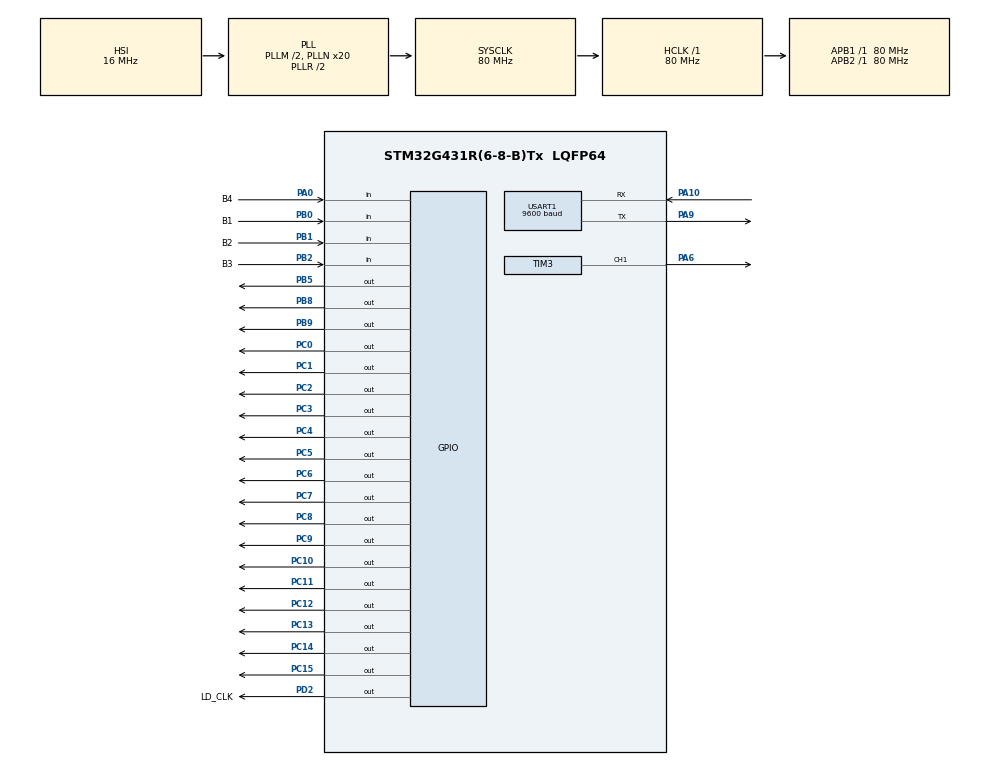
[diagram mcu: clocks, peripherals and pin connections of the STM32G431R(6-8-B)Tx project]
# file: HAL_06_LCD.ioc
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Mcu.Family=STM32G4
Mcu.Name=STM32G431R(6-8-B)Tx
Mcu.Package=LQFP64
NVIC.PriorityGroup=NVIC_PRIORITYGROUP_4
NVIC.TIM4_IRQn=true\:0\:0\:true\:false\:true\:true\:true
NVIC.USART1_IRQn=true\:0\:0\:false\:false\:true\:true\:true
PA0.GPIO_Label=B4
PA0.GPIO_PuPd=GPIO_PULLUP
PA0.Signal=GPIO_Input
PA10.Mode=Asynchronous
PA10.Signal=USART1_RX
PA6.Signal=S_TIM3_CH1
PA9.Mode=Asynchronous
PA9.Signal=USART1_TX
PB0.GPIO_Label=B1
PB0.GPIO_PuPd=GPIO_PULLUP
PB0.Signal=GPIO_Input
PB1.GPIO_Label=B2
PB1.GPIO_PuPd=GPIO_PULLUP
PB1.Signal=GPIO_Input
PB2.GPIO_Label=B3
PB2.GPIO_PuPd=GPIO_PULLUP
PB2.Signal=GPIO_Input
PB5.Signal=GPIO_Output
PB8-BOOT0.Signal=GPIO_Output
PB9.Signal=GPIO_Output
PC0.Signal=GPIO_Output
PC1.Signal=GPIO_Output
PC10.Signal=GPIO_Output
PC11.Signal=GPIO_Output
PC12.Signal=GPIO_Output
PC13.Signal=GPIO_Output
PC14-OSC32_IN.Signal=GPIO_Output
PC15-OSC32_OUT.Signal=GPIO_Output
PC2.Signal=GPIO_Output
PC3.Signal=GPIO_Output
PC4.Signal=GPIO_Output
PC5.Signal=GPIO_Output
PC6.Signal=GPIO_Output
PC7.Signal=GPIO_Output
PC8.Signal=GPIO_Output
PC9.Signal=GPIO_Output
PD2.GPIO_Label=LD_CLK
PD2.Signal=GPIO_Output
PF0-OSC_IN.Mode=HSE-External-Oscillator
PF0-OSC_IN.Signal=RCC_OSC_IN
PF1-OSC_OUT.Mode=HSE-External-Oscillator
PF1-OSC_OUT.Signal=RCC_OSC_OUT
ProjectManager.HeapSize=0x200
ProjectManager.StackSize=0x400
ProjectManager.TargetToolchain=MDK-ARM V5.27
RCC.ADC12Freq_Value=80000000
RCC.AHBFreq_Value=80000000
RCC.APB1Freq_Value=80000000
RCC.APB1TimFreq_Value=80000000
RCC.APB2Freq_Value=80000000
RCC.APB2TimFreq_Value=80000000
RCC.CortexFreq_Value=80000000
RCC.EXTERNAL_CLOCK_VALUE=12288000
RCC.HCLKFreq_Value=80000000
RCC.HSE_VALUE=24000000
RCC.HSI48_VALUE=48000000
RCC.HSI_VALUE=16000000
RCC.LSE_VALUE=32768
RCC.PLLM=RCC_PLLM_DIV2
RCC.PLLN=20
RCC.SYSCLKFreq_VALUE=80000000
RCC.SYSCLKSource=RCC_SYSCLKSOURCE_PLLCLK
RCC.USBFreq_Value=80000000
RCC.VCOOutputFreq_Value=160000000
SH.S_TIM3_CH1.0=TIM3_CH1,PWM Generation1 CH1
TIM3.Channel-PWM\ Generation1\ CH1=TIM_CHANNEL_1
TIM3.PeriodNoDither=1000-1
TIM3.Prescaler=80-1
TIM3.PulseNoDither_1=800
TIM4.PeriodNoDither=1000-1
TIM4.Prescaler=80-1
USART1.BaudRate=9600
USART1.VirtualMode-Asynchronous=VM_ASYNC
VP_SYS_VS_DBSignals.Mode=DisableDeadBatterySignals
VP_TIM3_VS_ClockSourceINT.Mode=Internal
VP_TIM4_VS_ClockSourceINT.Mode=Internal
board=custom

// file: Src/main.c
/* USER CODE BEGIN Header */
/**
  ******************************************************************************
  * @file           : main.c
  * @brief          : Main program body
  ******************************************************************************
  * @attention
  *
  * <h2><center>&copy; Copyright (c) 2021 STMicroelectronics.
  * All rights reserved.</center></h2>
  *
  * This software component is licensed by ST under BSD 3-Clause license,
  * the "License"; You may not use this file except in compliance with the
  * License. You may obtain a copy of the License at:
  *                        opensource.org/licenses/BSD-3-Clause
  *
  ******************************************************************************
  */
/* USER CODE END Header */
#include "main.h"

/* USER CODE BEGIN Includes */
#include <stdio.h>
#include <string.h>
#include "lcd.h"
#include "i2c.h"
/* USER CODE END Includes */

/* USER CODE BEGIN PD */
//界面
#define DISPLAYVIEW 1
#define SETTINGVIEW 2
//设置选择项
#define HOR_SEL 1
#define MIN_SEL 2
#define SEC_SEL 3
//当前状态
#define STANDBY 0
#define SETTING 1
#define RUNNING 2
#define PAUSE   3
/* USER CODE END PD */

/* USER CODE BEGIN PM */
#define KB1 HAL_GPIO_ReadPin(B1_GPIO_Port, B1_Pin)
#define KB2 HAL_GPIO_ReadPin(B2_GPIO_Port, B2_Pin)
#define KB3 HAL_GPIO_ReadPin(B3_GPIO_Port, B3_Pin)
#define KB4 HAL_GPIO_ReadPin(B4_GPIO_Port, B4_Pin)
/* USER CODE END PM */

TIM_HandleTypeDef htim3;
TIM_HandleTypeDef htim4;

UART_HandleTypeDef huart1;

/* USER CODE BEGIN PV */
_Bool Key_Flag = 0;//按键的标志位
_Bool Led_Flag = 0;//LED的标志位
_Bool Lcd_Flag = 0;
_Bool T1s_Flag = 0;
uint16_t Led_Val;
uint8_t View_Model = 1;

uint8_t Current_Index = 1;//当前存储序列
int Hour_Val[6], Min_Val[6], Sec_Val[6];//存储时间
uint8_t State_Val[6];//储存序列状态
uint8_t Setting_Index = 1;//当前设置序列
/* USER CODE END PV */

void SystemClock_Config(void);
static void MX_GPIO_Init(void);
static void MX_TIM4_Init(void);
static void MX_TIM3_Init(void);
static void MX_USART1_UART_Init(void);

/* USER CODE BEGIN 0 */
//读写eeprom
uint8_t ee_read(uint8_t address)
{
	uint8_t val;
	I2CStart();
	I2CSendByte(0xa0);
	I2CWaitAck();

	I2CSendByte(address);
	I2CWaitAck();

	I2CStart();
	I2CSendByte(0xa1);
	I2CWaitAck();
	val = I2CReceiveByte();
	I2CWaitAck();
	I2CStop();
	return val;
}

void ee_write(uint8_t address, uint8_t val)
{
	I2CStart();
	I2CSendByte(0xa0);
	I2CWaitAck();

	I2CSendByte(address);
	I2CWaitAck();

	I2CSendByte(val);
	I2CWaitAck();
	I2CStop();
}
//操作LED灯
void TurnOff_LEDS()
{
	Led_Val = 0xFF00;
	HAL_GPIO_WritePin(LD_CLK_GPIO_Port, LD_CLK_Pin, GPIO_PIN_SET);
	GPIOC->ODR = Led_Val;
	HAL_GPIO_WritePin(LD_CLK_GPIO_Port, LD_CLK_Pin, GPIO_PIN_RESET);
}
void TurnOff_LED(uint8_t _led)
{
	Led_Val |= (0x01 << (7 + _led));
	HAL_GPIO_WritePin(LD_CLK_GPIO_Port, LD_CLK_Pin, GPIO_PIN_SET);
	GPIOC->ODR = Led_Val;
	HAL_GPIO_WritePin(LD_CLK_GPIO_Port, LD_CLK_Pin, GPIO_PIN_RESET);
}
void TurnOn_LED(uint8_t _led)
{
	Led_Val &= ~(0x01 << (7 + _led));
	HAL_GPIO_WritePin(LD_CLK_GPIO_Port, LD_CLK_Pin, GPIO_PIN_SET);
	GPIOC->ODR = Led_Val;
	HAL_GPIO_WritePin(LD_CLK_GPIO_Port, LD_CLK_Pin, GPIO_PIN_RESET);
}

void Display_Time(int _fci, int _sci, int _time[])
{
	LCD_DisplayChar(Line3, 319 - 16 * _fci, (uint8_t)_time[Current_Index] / 10 + '0');
	LCD_DisplayChar(Line3, 319 - 16 * _sci, (uint8_t)_time[Current_Index] % 10 + '0');
}

void Add_Time()
{
	if(View_Model == SETTINGVIEW)
	{
		switch(Setting_Index)
		{
			case HOR_SEL:
				if(++Hour_Val[Current_Index] >= 24)
				{
					Hour_Val[Current_Index] = 0;
				}
			break;
			case MIN_SEL:
				if(++Min_Val[Current_Index] >= 60)
				{
					Min_Val[Current_Index] = 0;
				}
			break;
			case SEC_SEL:
				if(++Sec_Val[Current_Index] >= 60)
				{
					Sec_Val[Current_Index] = 0;
				}
			break;
		}
	}
}

void Display_Proc()
{
	uint8_t buf[30];
	//显示序号
	sprintf((char *)buf, "    No %d", Current_Index);
	LCD_DisplayStringLine(Line1, buf);

	//显示时间
	if(View_Model == DISPLAYVIEW)
	{
		//显示界面下
		sprintf((char *)buf, "       %02d: %02d: %02d", Hour_Val[Current_Index], Min_Val[Current_Index], Sec_Val[Current_Index]);
		LCD_DisplayStringLine(Line3, buf);
	}
	if(View_Model == SETTINGVIEW)
	{
		//设置界面下
		if(Setting_Index == HOR_SEL)
		{
			LCD_SetTextColor(Red);
			Display_Time(7, 8, Hour_Val);
			LCD_SetTextColor(Black);
		}else{
			Display_Time(7, 8, Hour_Val);
		}
		if(Setting_Index == MIN_SEL)
		{
			LCD_SetTextColor(Red);
			Display_Time(11, 12, Min_Val);
			LCD_SetTextColor(Black);
		}else{
			Display_Time(11, 12, Min_Val);
		}
		if(Setting_Index == SEC_SEL)
		{
			LCD_SetTextColor(Red);
			Display_Time(15, 16, Sec_Val);
			LCD_SetTextColor(Black);
		}else{
			Display_Time(15, 16, Sec_Val);
		}
	}
	//显示状态值
	switch(State_Val[Current_Index])
	{
		case STANDBY:
			LCD_DisplayStringLine(Line5, (uint8_t *)"        Standby  ");
		break;
		case SETTING:
			LCD_DisplayStringLine(Line5, (uint8_t *)"        Setting  ");
		break;
		case RUNNING:
			LCD_DisplayStringLine(Line5, (uint8_t *)"        Running  ");
		break;
		case PAUSE:
			LCD_DisplayStringLine(Line5, (uint8_t *)"        Pause    ");
		break;
	}
}
int fputc(int ch, FILE *f)
{
	HAL_UART_Transmit(&huart1, (uint8_t *)&ch, 1, HAL_MAX_DELAY);
	return ch;
}
//按键扫描服务函数
void Key_Proc()
{
	//按键1 用于界面切换
	static uint8_t b1_sum;
	if(KB1 == 0)
	{
		b1_sum++;
		if(b1_sum == 1)
		{
			Current_Index = Current_Index % 5 + 1;
		}
	}
	if(KB1 == 1)
	{
		b1_sum = 0;
	}

	//按键2 用于设置切换
	static uint8_t b2_sum;
	static uint16_t first_time;
	if(KB2 == 0)
	{
		b2_sum++;
	}
	if(KB2 == 1)
	{
		if(b2_sum >= 1 && b2_sum <= 80)
		{
			if(View_Model == DISPLAYVIEW && State_Val[Current_Index] == STANDBY)
			{
				View_Model = SETTINGVIEW;
				for(int i = 1; i <= 5; i++){
					State_Val[i] = SETTING;
				}
			}else if(View_Model == SETTINGVIEW){
				Setting_Index = Setting_Index % 3 + 1;

			}
		}else if(b2_sum > 80){
			View_Model = DISPLAYVIEW;
			ee_write(0x01, Hour_Val[1]);
			HAL_Delay(5);
			ee_write(0x02, Min_Val[1]);
			HAL_Delay(5);
			ee_write(0x03, Sec_Val[1]);
			HAL_Delay(5);
			for(int i = 1; i <= 5; i++){
					State_Val[i] = STANDBY;
			}
		}
		b2_sum  = 0;
	}

	//按键3 用于数字的快速增加
	static uint8_t b3_sum;

	if(KB3 == 0)
	{
		b3_sum++;
		if(b3_sum == 1)
		{
			Add_Time();
		}
		if(b3_sum >= 80)
		{
			Add_Time();
			b3_sum = 75;
		}
	}
	if(KB3 == 1)
	{
		b3_sum = 0;
	}

	//按键4 用于定时器启动
	static uint8_t b4_sum;
	if(KB4 == 0)
	{
		b4_sum++;
	}
	if(KB4 == 1)
	{
		if(b4_sum >= 1 && b4_sum <= 80)
		{
			if(State_Val[Current_Index] == STANDBY || State_Val[Current_Index] == SETTING)
			{
				for(int i = 1; i <= 5; i++){
					State_Val[i] = STANDBY;
				}
				View_Model = DISPLAYVIEW;
				State_Val[Current_Index] = RUNNING;//启动定时器
				HAL_TIM_PWM_Start(&htim3, TIM_CHANNEL_1);
			}
			else if(State_Val[Current_Index] == RUNNING)
			{
				State_Val[Current_Index] = PAUSE;//暂停定时器
				HAL_TIM_PWM_Stop(&htim3, TIM_CHANNEL_1);
				TurnOff_LED(1);
			}
			else if(State_Val[Current_Index] == PAUSE)
			{
				State_Val[Current_Index] = RUNNING;//恢复定时器
				HAL_TIM_PWM_Start(&htim3, TIM_CHANNEL_1);
			}
		}
		if(b4_sum > 80)
		{
			if(State_Val[Current_Index] == RUNNING)
			{
				State_Val[Current_Index] = STANDBY;//暂停定时器
			}
		}
		b4_sum = 0;
	}
}

/* USER CODE END 0 */

int main(void)
{

  /* MCU Configuration--------------------------------------------------------*/

  /* Reset of all peripherals, Initializes the Flash interface and the Systick. */
  HAL_Init();

  /* Configure the system clock */
  SystemClock_Config();

  /* Initialize all configured peripherals */
  MX_GPIO_Init();
  MX_TIM4_Init();
  MX_TIM3_Init();
  MX_USART1_UART_Init();
  /* USER CODE BEGIN 2 */
	//初始化I2C
	I2CInit();

	Hour_Val[1] = ee_read(1);
	HAL_Delay(5);
	Min_Val[1] = ee_read(2);
	HAL_Delay(5);
	Sec_Val[1] = ee_read(3);
	//启动定时器4
	HAL_TIM_Base_Start_IT(&htim4);
	//初始化LCD
	LCD_Init();
  /* USER CODE END 2 */

  /* Infinite loop */
  /* USER CODE BEGIN WHILE */

	LCD_Clear(White);
	LCD_SetBackColor(White);
	LCD_SetTextColor(Black);
	TurnOff_LEDS();
  while (1)
  {
		if(Lcd_Flag){
			Lcd_Flag = 0;
			Display_Proc();//占用20ms
		}
    /* USER CODE END WHILE */

    /* USER CODE BEGIN 3 */
		if(Key_Flag)
		{
			Key_Flag = 0;
			Key_Proc();//占用20ms
		}
		if(State_Val[Current_Index] == RUNNING)
		{
			if(Led_Flag)
				TurnOn_LED(1);
			else
				TurnOff_LED(1);
		}

	}
  /* USER CODE END 3 */
}

void SystemClock_Config(void)
{
  RCC_OscInitTypeDef RCC_OscInitStruct = {0};
  RCC_ClkInitTypeDef RCC_ClkInitStruct = {0};
  RCC_PeriphCLKInitTypeDef PeriphClkInit = {0};

  /** Configure the main internal regulator output voltage
  */
  HAL_PWREx_ControlVoltageScaling(PWR_REGULATOR_VOLTAGE_SCALE1);
  /** Initializes the RCC Oscillators according to the specified parameters
  * in the RCC_OscInitTypeDef structure.
  */
  RCC_OscInitStruct.OscillatorType = RCC_OSCILLATORTYPE_HSI;
  RCC_OscInitStruct.HSIState = RCC_HSI_ON;
  RCC_OscInitStruct.HSICalibrationValue = RCC_HSICALIBRATION_DEFAULT;
  RCC_OscInitStruct.PLL.PLLState = RCC_PLL_ON;
  RCC_OscInitStruct.PLL.PLLSource = RCC_PLLSOURCE_HSI;
  RCC_OscInitStruct.PLL.PLLM = RCC_PLLM_DIV2;
  RCC_OscInitStruct.PLL.PLLN = 20;
  RCC_OscInitStruct.PLL.PLLP = RCC_PLLP_DIV2;
  RCC_OscInitStruct.PLL.PLLQ = RCC_PLLQ_DIV2;
  RCC_OscInitStruct.PLL.PLLR = RCC_PLLR_DIV2;
  if (HAL_RCC_OscConfig(&RCC_OscInitStruct) != HAL_OK)
  {
    Error_Handler();
  }
  /** Initializes the CPU, AHB and APB buses clocks
  */
  RCC_ClkInitStruct.ClockType = RCC_CLOCKTYPE_HCLK|RCC_CLOCKTYPE_SYSCLK
                              |RCC_CLOCKTYPE_PCLK1|RCC_CLOCKTYPE_PCLK2;
  RCC_ClkInitStruct.SYSCLKSource = RCC_SYSCLKSOURCE_PLLCLK;
  RCC_ClkInitStruct.AHBCLKDivider = RCC_SYSCLK_DIV1;
  RCC_ClkInitStruct.APB1CLKDivider = RCC_HCLK_DIV1;
  RCC_ClkInitStruct.APB2CLKDivider = RCC_HCLK_DIV1;

  if (HAL_RCC_ClockConfig(&RCC_ClkInitStruct, FLASH_LATENCY_2) != HAL_OK)
  {
    Error_Handler();
  }
  /** Initializes the peripherals clocks
  */
  PeriphClkInit.PeriphClockSelection = RCC_PERIPHCLK_USART1;
  PeriphClkInit.Usart1ClockSelection = RCC_USART1CLKSOURCE_PCLK2;
  if (HAL_RCCEx_PeriphCLKConfig(&PeriphClkInit) != HAL_OK)
  {
    Error_Handler();
  }
}

static void MX_TIM3_Init(void)
{

  TIM_ClockConfigTypeDef sClockSourceConfig = {0};
  TIM_MasterConfigTypeDef sMasterConfig = {0};
  TIM_OC_InitTypeDef sConfigOC = {0};

  htim3.Instance = TIM3;
  htim3.Init.Prescaler = 80-1;
  htim3.Init.CounterMode = TIM_COUNTERMODE_UP;
  htim3.Init.Period = 999;
  htim3.Init.ClockDivision = TIM_CLOCKDIVISION_DIV1;
  htim3.Init.AutoReloadPreload = TIM_AUTORELOAD_PRELOAD_DISABLE;
  if (HAL_TIM_Base_Init(&htim3) != HAL_OK)
  {
    Error_Handler();
  }
  sClockSourceConfig.ClockSource = TIM_CLOCKSOURCE_INTERNAL;
  if (HAL_TIM_ConfigClockSource(&htim3, &sClockSourceConfig) != HAL_OK)
  {
    Error_Handler();
  }
  if (HAL_TIM_PWM_Init(&htim3) != HAL_OK)
  {
    Error_Handler();
  }
  sMasterConfig.MasterOutputTrigger = TIM_TRGO_RESET;
  sMasterConfig.MasterSlaveMode = TIM_MASTERSLAVEMODE_DISABLE;
  if (HAL_TIMEx_MasterConfigSynchronization(&htim3, &sMasterConfig) != HAL_OK)
  {
    Error_Handler();
  }
  sConfigOC.OCMode = TIM_OCMODE_PWM1;
  sConfigOC.Pulse = 800;
  sConfigOC.OCPolarity = TIM_OCPOLARITY_HIGH;
  sConfigOC.OCFastMode = TIM_OCFAST_DISABLE;
  if (HAL_TIM_PWM_ConfigChannel(&htim3, &sConfigOC, TIM_CHANNEL_1) != HAL_OK)
  {
    Error_Handler();
  }
  HAL_TIM_MspPostInit(&htim3);

}

static void MX_TIM4_Init(void)
{

  TIM_ClockConfigTypeDef sClockSourceConfig = {0};
  TIM_MasterConfigTypeDef sMasterConfig = {0};

  htim4.Instance = TIM4;
  htim4.Init.Prescaler = 80-1;
  htim4.Init.CounterMode = TIM_COUNTERMODE_UP;
  htim4.Init.Period = 999;
  htim4.Init.ClockDivision = TIM_CLOCKDIVISION_DIV1;
  htim4.Init.AutoReloadPreload = TIM_AUTORELOAD_PRELOAD_DISABLE;
  if (HAL_TIM_Base_Init(&htim4) != HAL_OK)
  {
    Error_Handler();
  }
  sClockSourceConfig.ClockSource = TIM_CLOCKSOURCE_INTERNAL;
  if (HAL_TIM_ConfigClockSource(&htim4, &sClockSourceConfig) != HAL_OK)
  {
    Error_Handler();
  }
  sMasterConfig.MasterOutputTrigger = TIM_TRGO_RESET;
  sMasterConfig.MasterSlaveMode = TIM_MASTERSLAVEMODE_DISABLE;
  if (HAL_TIMEx_MasterConfigSynchronization(&htim4, &sMasterConfig) != HAL_OK)
  {
    Error_Handler();
  }

}

static void MX_USART1_UART_Init(void)
{

  huart1.Instance = USART1;
  huart1.Init.BaudRate = 9600;
  huart1.Init.WordLength = UART_WORDLENGTH_8B;
  huart1.Init.StopBits = UART_STOPBITS_1;
  huart1.Init.Parity = UART_PARITY_NONE;
  huart1.Init.Mode = UART_MODE_TX_RX;
  huart1.Init.HwFlowCtl = UART_HWCONTROL_NONE;
  huart1.Init.OverSampling = UART_OVERSAMPLING_16;
  huart1.Init.OneBitSampling = UART_ONE_BIT_SAMPLE_DISABLE;
  huart1.Init.ClockPrescaler = UART_PRESCALER_DIV1;
  huart1.AdvancedInit.AdvFeatureInit = UART_ADVFEATURE_NO_INIT;
  if (HAL_UART_Init(&huart1) != HAL_OK)
  {
    Error_Handler();
  }
  if (HAL_UARTEx_SetTxFifoThreshold(&huart1, UART_TXFIFO_THRESHOLD_1_8) != HAL_OK)
  {
    Error_Handler();
  }
  if (HAL_UARTEx_SetRxFifoThreshold(&huart1, UART_RXFIFO_THRESHOLD_1_8) != HAL_OK)
  {
    Error_Handler();
  }
  if (HAL_UARTEx_DisableFifoMode(&huart1) != HAL_OK)
  {
    Error_Handler();
  }

}

static void MX_GPIO_Init(void)
{
  GPIO_InitTypeDef GPIO_InitStruct = {0};

  /* GPIO Ports Clock Enable */
  __HAL_RCC_GPIOC_CLK_ENABLE();
  __HAL_RCC_GPIOF_CLK_ENABLE();
  __HAL_RCC_GPIOA_CLK_ENABLE();
  __HAL_RCC_GPIOB_CLK_ENABLE();
  __HAL_RCC_GPIOD_CLK_ENABLE();

  /*Configure GPIO pin Output Level */
  HAL_GPIO_WritePin(GPIOC, GPIO_PIN_13|GPIO_PIN_14|GPIO_PIN_15|GPIO_PIN_0
                          |GPIO_PIN_1|GPIO_PIN_2|GPIO_PIN_3|GPIO_PIN_4
                          |GPIO_PIN_5|GPIO_PIN_6|GPIO_PIN_7|GPIO_PIN_8
                          |GPIO_PIN_9|GPIO_PIN_10|GPIO_PIN_11|GPIO_PIN_12, GPIO_PIN_RESET);

  /*Configure GPIO pin Output Level */
  HAL_GPIO_WritePin(LD_CLK_GPIO_Port, LD_CLK_Pin, GPIO_PIN_RESET);

  /*Configure GPIO pin Output Level */
  HAL_GPIO_WritePin(GPIOB, GPIO_PIN_5|GPIO_PIN_8|GPIO_PIN_9, GPIO_PIN_RESET);

  /*Configure GPIO pins : PC13 PC14 PC15 PC0
                           PC1 PC2 PC3 PC4
                           PC5 PC6 PC7 PC8
                           PC9 PC10 PC11 PC12 */
  GPIO_InitStruct.Pin = GPIO_PIN_13|GPIO_PIN_14|GPIO_PIN_15|GPIO_PIN_0
                          |GPIO_PIN_1|GPIO_PIN_2|GPIO_PIN_3|GPIO_PIN_4
                          |GPIO_PIN_5|GPIO_PIN_6|GPIO_PIN_7|GPIO_PIN_8
                          |GPIO_PIN_9|GPIO_PIN_10|GPIO_PIN_11|GPIO_PIN_12;
  GPIO_InitStruct.Mode = GPIO_MODE_OUTPUT_PP;
  GPIO_InitStruct.Pull = GPIO_NOPULL;
  GPIO_InitStruct.Speed = GPIO_SPEED_FREQ_LOW;
  HAL_GPIO_Init(GPIOC, &GPIO_InitStruct);

  /*Configure GPIO pin : B4_Pin */
  GPIO_InitStruct.Pin = B4_Pin;
  GPIO_InitStruct.Mode = GPIO_MODE_INPUT;
  GPIO_InitStruct.Pull = GPIO_PULLUP;
  HAL_GPIO_Init(B4_GPIO_Port, &GPIO_InitStruct);

  /*Configure GPIO pins : B1_Pin B2_Pin B3_Pin */
  GPIO_InitStruct.Pin = B1_Pin|B2_Pin|B3_Pin;
  GPIO_InitStruct.Mode = GPIO_MODE_INPUT;
  GPIO_InitStruct.Pull = GPIO_PULLUP;
  HAL_GPIO_Init(GPIOB, &GPIO_InitStruct);

  /*Configure GPIO pin : LD_CLK_Pin */
  GPIO_InitStruct.Pin = LD_CLK_Pin;
  GPIO_InitStruct.Mode = GPIO_MODE_OUTPUT_PP;
  GPIO_InitStruct.Pull = GPIO_NOPULL;
  GPIO_InitStruct.Speed = GPIO_SPEED_FREQ_LOW;
  HAL_GPIO_Init(LD_CLK_GPIO_Port, &GPIO_InitStruct);

  /*Configure GPIO pins : PB5 PB8 PB9 */
  GPIO_InitStruct.Pin = GPIO_PIN_5|GPIO_PIN_8|GPIO_PIN_9;
  GPIO_InitStruct.Mode = GPIO_MODE_OUTPUT_PP;
  GPIO_InitStruct.Pull = GPIO_NOPULL;
  GPIO_InitStruct.Speed = GPIO_SPEED_FREQ_LOW;
  HAL_GPIO_Init(GPIOB, &GPIO_InitStruct);

}

/* USER CODE BEGIN 4 */
void HAL_TIM_PeriodElapsedCallback(TIM_HandleTypeDef *htim)
{
	HAL_TIM_Base_Start_IT(&htim4);
	static uint8_t key_count;//用于按键扫描计数
	static uint16_t led_count;//用于LED切换
	static uint16_t timer_count;//倒计时
	if(htim->Instance == TIM4)
	{
		if(++key_count == 10)
		{
			key_count = 0;
			Key_Flag = 1;
		}
		if(++led_count == 500)
		{
			led_count = 0;
			Led_Flag = !Led_Flag;
		}
		if(++timer_count == 1000)
		{
			timer_count = 0;
			if(State_Val[Current_Index] == RUNNING)
			{
				if(Sec_Val[Current_Index] == 0)
				{
					Sec_Val[Current_Index] = 60;
					if(Min_Val[Current_Index] == 0)
					{
						Min_Val[Current_Index] = 60;
						if(Hour_Val[Current_Index] == 0)
						{
							Hour_Val[Current_Index] = 1;
							Min_Val[Current_Index] = 1;
							Sec_Val[Current_Index] = 1;
							State_Val[Current_Index] = STANDBY;
							TurnOff_LED(1);
						}
						Hour_Val[Current_Index]--;
					}
					Min_Val[Current_Index]--;
				}
				Sec_Val[Current_Index]--;
			}
		}

	}

}

/* USER CODE END 4 */

void Error_Handler(void)
{
}

/************************ (C) COPYRIGHT STMicroelectronics *****END OF FILE****/
